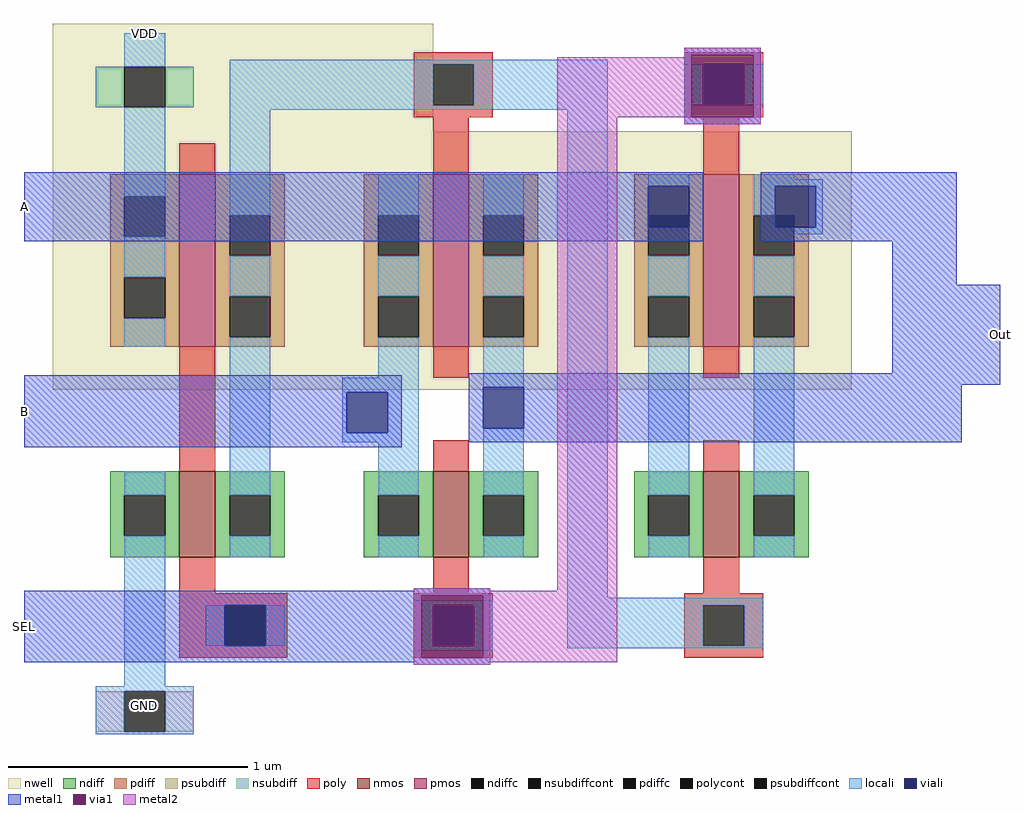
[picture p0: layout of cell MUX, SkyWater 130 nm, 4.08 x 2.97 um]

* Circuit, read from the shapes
.subckt MUX SEL A B Out VDD GND
XM1 n1 SEL GND GND sky130_fd_pr__nfet_01v8 w=0.36 l=0.15
XM2 Out SEL B GND sky130_fd_pr__nfet_01v8 w=0.36 l=0.15
XM3 Out n1 A GND sky130_fd_pr__nfet_01v8 w=0.36 l=0.15
XM4 n1 SEL VDD VDD sky130_fd_pr__pfet_01v8 w=0.72 l=0.15
XM5 Out n1 B VDD sky130_fd_pr__pfet_01v8 w=0.72 l=0.15
XM6 Out SEL A VDD sky130_fd_pr__pfet_01v8 w=0.72 l=0.15
.ends

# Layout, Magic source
magic
tech sky130A
<< nwell >>
rect 12 252 171 297
rect 12 144 346 252
<< nmos >>
rect 65 74 80 110
rect 171 74 186 110
rect 284 74 299 110
<< pmos >>
rect 65 162 80 234
rect 171 162 186 234
rect 284 162 299 234
<< ndiff >>
rect 36 100 65 110
rect 36 83 42 100
rect 59 83 65 100
rect 36 74 65 83
rect 80 100 109 110
rect 80 83 86 100
rect 103 83 109 100
rect 80 74 109 83
rect 142 100 171 110
rect 142 83 148 100
rect 165 83 171 100
rect 142 74 171 83
rect 186 100 215 110
rect 186 83 192 100
rect 209 83 215 100
rect 186 74 215 83
rect 255 100 284 110
rect 255 83 261 100
rect 278 83 284 100
rect 255 74 284 83
rect 299 100 328 110
rect 299 83 305 100
rect 322 83 328 100
rect 299 74 328 83
<< pdiff >>
rect 36 225 65 234
rect 36 208 42 225
rect 59 208 65 225
rect 36 191 65 208
rect 36 174 42 191
rect 59 174 65 191
rect 36 162 65 174
rect 80 217 109 234
rect 80 200 86 217
rect 103 200 109 217
rect 80 183 109 200
rect 80 166 86 183
rect 103 166 109 183
rect 80 162 109 166
rect 142 217 171 234
rect 142 200 148 217
rect 165 200 171 217
rect 142 183 171 200
rect 142 166 148 183
rect 165 166 171 183
rect 142 162 171 166
rect 186 217 215 234
rect 186 200 192 217
rect 209 200 215 217
rect 186 183 215 200
rect 186 166 192 183
rect 209 166 215 183
rect 186 162 215 166
rect 255 217 284 234
rect 255 200 261 217
rect 278 200 284 217
rect 255 183 284 200
rect 255 166 261 183
rect 278 166 284 183
rect 255 162 284 166
rect 299 217 328 234
rect 299 200 305 217
rect 322 200 328 217
rect 299 183 328 200
rect 299 166 305 183
rect 322 166 328 183
rect 299 162 328 166
<< ndiffc >>
rect 42 83 59 100
rect 86 83 103 100
rect 148 83 165 100
rect 192 83 209 100
rect 261 83 278 100
rect 305 83 322 100
<< pdiffc >>
rect 42 208 59 225
rect 42 174 59 191
rect 86 200 103 217
rect 86 166 103 183
rect 148 200 165 217
rect 148 166 165 183
rect 192 200 209 217
rect 192 166 209 183
rect 261 200 278 217
rect 261 166 278 183
rect 305 200 322 217
rect 305 166 322 183
<< psubdiff >>
rect 30 1 42 18
rect 59 1 71 18
<< nsubdiff >>
rect 30 262 42 279
rect 59 262 71 279
<< psubdiffcont >>
rect 42 1 59 18
<< nsubdiffcont >>
rect 42 262 59 279
<< poly >>
rect 163 280 196 285
rect 163 263 171 280
rect 188 263 196 280
rect 163 258 196 263
rect 276 280 309 285
rect 276 263 284 280
rect 301 263 309 280
rect 276 258 309 263
rect 65 234 80 247
rect 171 234 186 258
rect 284 234 299 258
rect 65 110 80 162
rect 171 149 186 162
rect 284 149 299 162
rect 171 110 186 123
rect 284 110 299 123
rect 65 59 80 74
rect 171 59 186 74
rect 284 59 299 74
rect 65 54 110 59
rect 65 37 84 54
rect 101 37 110 54
rect 65 32 110 37
rect 163 54 196 59
rect 163 37 171 54
rect 188 37 196 54
rect 163 32 196 37
rect 276 54 309 59
rect 276 37 284 54
rect 301 37 309 54
rect 276 32 309 37
<< polycont >>
rect 171 263 188 280
rect 284 263 301 280
rect 84 37 101 54
rect 171 37 188 54
rect 284 37 301 54
<< locali >>
rect 42 279 59 293
rect 42 225 59 262
rect 42 191 59 208
rect 42 162 59 174
rect 86 280 244 282
rect 86 263 171 280
rect 188 263 244 280
rect 276 263 284 280
rect 301 263 309 280
rect 86 261 244 263
rect 86 217 103 261
rect 86 183 103 200
rect 42 100 59 110
rect 42 20 59 83
rect 86 100 103 166
rect 148 217 165 234
rect 148 183 165 200
rect 148 149 165 166
rect 133 143 165 149
rect 133 126 135 143
rect 152 126 165 143
rect 133 122 165 126
rect 86 74 103 83
rect 148 100 165 122
rect 148 74 165 83
rect 192 217 209 234
rect 192 183 209 200
rect 192 145 209 166
rect 192 100 209 128
rect 192 74 209 83
rect 227 57 244 261
rect 261 229 278 234
rect 261 183 278 200
rect 261 100 278 166
rect 261 74 278 83
rect 305 232 322 234
rect 305 229 334 232
rect 305 217 314 229
rect 331 212 334 229
rect 322 209 334 212
rect 305 183 322 200
rect 305 100 322 166
rect 305 74 322 83
rect 163 54 196 56
rect 76 37 84 54
rect 101 37 109 54
rect 163 37 171 54
rect 188 37 196 54
rect 163 35 196 37
rect 227 54 309 57
rect 227 37 284 54
rect 301 37 309 54
rect 227 36 309 37
rect 30 18 71 20
rect 30 1 42 18
rect 59 1 71 18
rect 30 0 71 1
<< viali >>
rect 284 263 301 280
rect 135 126 152 143
rect 192 128 209 145
rect 261 217 278 229
rect 261 212 278 217
rect 314 217 331 229
rect 314 212 322 217
rect 322 212 331 217
rect 84 37 101 54
rect 171 37 188 54
<< metal1 >>
rect 276 284 308 287
rect 276 258 279 284
rect 305 258 308 284
rect 276 255 308 258
rect 0 229 284 235
rect 0 212 261 229
rect 278 212 284 229
rect 0 206 284 212
rect 308 229 390 235
rect 308 212 314 229
rect 331 212 390 229
rect 308 206 390 212
rect 363 188 390 206
rect 363 151 408 188
rect 0 143 158 150
rect 0 126 135 143
rect 152 126 158 143
rect 0 120 158 126
rect 186 146 408 151
rect 186 145 392 146
rect 186 128 192 145
rect 209 128 392 145
rect 186 122 392 128
rect 163 60 195 61
rect 0 58 195 60
rect 0 54 166 58
rect 0 37 84 54
rect 101 37 166 54
rect 0 32 166 37
rect 192 32 195 58
rect 0 30 195 32
rect 163 29 195 30
<< via1 >>
rect 279 280 305 284
rect 279 263 284 280
rect 284 263 301 280
rect 301 263 305 280
rect 279 258 305 263
rect 166 54 192 58
rect 166 37 171 54
rect 171 37 188 54
rect 188 37 192 54
rect 166 32 192 37
<< metal2 >>
rect 276 284 308 287
rect 276 283 279 284
rect 223 258 279 283
rect 305 258 308 284
rect 163 60 195 61
rect 223 60 248 258
rect 276 255 308 258
rect 163 58 248 60
rect 163 32 166 58
rect 192 32 248 58
rect 163 30 248 32
rect 163 29 195 30
<< labels >>
rlabel metal1 0 30 0 60 3 SEL
port 1 e signal input
rlabel metal1 0 206 0 235 3 A
port 2 e signal input
rlabel metal1 0 120 0 150 3 B
port 3 e signal input
rlabel metal1 408 146 408 188 7 Out
port 4 w signal output
rlabel locali 42 12 59 12 1 GND
port 6 n power bidirectional
rlabel locali 42 293 59 293 5 VDD
port 5 s power bidirectional
<< properties >>
string LEFsite unithddb1
string LEFclass CORE
<< end >>
